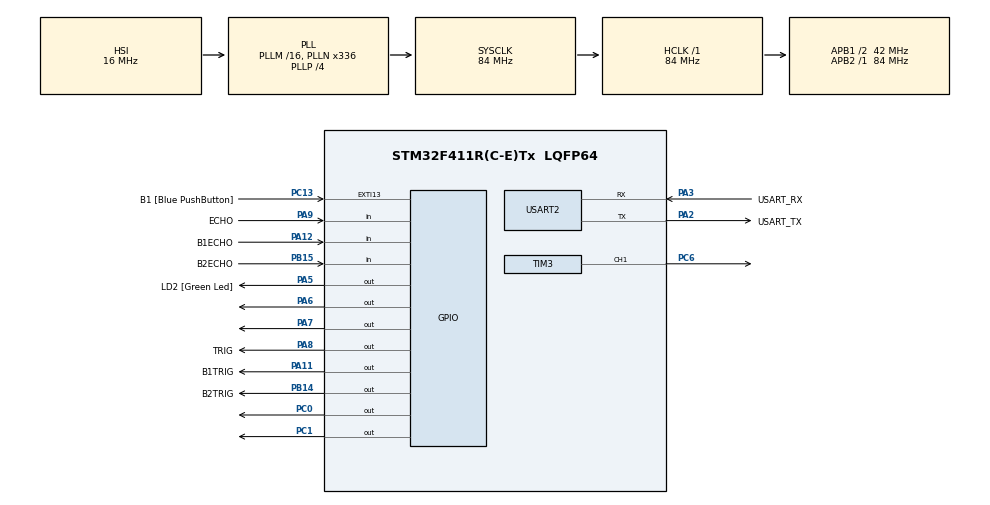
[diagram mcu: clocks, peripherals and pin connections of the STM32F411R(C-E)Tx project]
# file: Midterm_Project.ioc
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Mcu.Family=STM32F4
Mcu.Name=STM32F411R(C-E)Tx
Mcu.Package=LQFP64
NVIC.EXTI15_10_IRQn=true\:0\:0\:false\:false\:true\:true\:true
NVIC.PriorityGroup=NVIC_PRIORITYGROUP_0
NVIC.TIM3_IRQn=true\:0\:0\:false\:false\:true\:true\:true
PA11.GPIO_Label=B1TRIG
PA11.Signal=GPIO_Output
PA12.GPIO_Label=B1ECHO
PA12.Signal=GPIO_Input
PA13.GPIO_Label=TMS
PA13.Mode=Serial_Wire
PA13.Signal=SYS_JTMS-SWDIO
PA14.GPIO_Label=TCK
PA14.Mode=Serial_Wire
PA14.Signal=SYS_JTCK-SWCLK
PA2.GPIO_Label=USART_TX
PA2.Mode=Asynchronous
PA2.Signal=USART2_TX
PA3.GPIO_Label=USART_RX
PA3.Mode=Asynchronous
PA3.Signal=USART2_RX
PA5.GPIO_Label=LD2 [Green Led]
PA5.Signal=GPIO_Output
PA6.Signal=GPIO_Output
PA7.Signal=GPIO_Output
PA8.GPIO_Label=TRIG
PA8.Signal=GPIO_Output
PA9.GPIO_Label=ECHO
PA9.Signal=GPIO_Input
PB14.GPIO_Label=B2TRIG
PB14.Signal=GPIO_Output
PB15.GPIO_Label=B2ECHO
PB15.Signal=GPIO_Input
PB3.GPIO_Label=SWO
PB3.Signal=SYS_JTDO-SWO
PC0.Signal=GPIO_Output
PC1.Signal=GPIO_Output
PC13-ANTI_TAMP.GPIO_Label=B1 [Blue PushButton]
PC13-ANTI_TAMP.GPIO_ModeDefaultEXTI=GPIO_MODE_IT_FALLING
PC13-ANTI_TAMP.Signal=GPXTI13
PC14-OSC32_IN.Mode=LSE-External-Oscillator
PC14-OSC32_IN.Signal=RCC_OSC32_IN
PC15-OSC32_OUT.Mode=LSE-External-Oscillator
PC15-OSC32_OUT.Signal=RCC_OSC32_OUT
PC6.Signal=S_TIM3_CH1
PH0\ -\ OSC_IN.Mode=HSE-External-Clock-Source
PH0\ -\ OSC_IN.Signal=RCC_OSC_IN
PH1\ -\ OSC_OUT.Mode=HSE-External-Clock-Source
PH1\ -\ OSC_OUT.Signal=RCC_OSC_OUT
ProjectManager.HeapSize=0x200
ProjectManager.StackSize=0x400
ProjectManager.TargetToolchain=STM32CubeIDE
RCC.48MHZClocksFreq_Value=84000000
RCC.AHBFreq_Value=84000000
RCC.APB1CLKDivider=RCC_HCLK_DIV2
RCC.APB1Freq_Value=42000000
RCC.APB1TimFreq_Value=84000000
RCC.APB2Freq_Value=84000000
RCC.APB2TimFreq_Value=84000000
RCC.CortexFreq_Value=84000000
RCC.FLatency-AdvancedSettings=FLASH_LATENCY_2
RCC.HCLKFreq_Value=84000000
RCC.HSE_VALUE=8000000
RCC.HSI_VALUE=16000000
RCC.PLLN=336
RCC.PLLP=RCC_PLLP_DIV4
RCC.SYSCLKFreq_VALUE=84000000
RCC.SYSCLKSource=RCC_SYSCLKSOURCE_PLLCLK
RCC.VCOOutputFreq_Value=336000000
SH.S_TIM3_CH1.0=TIM3_CH1,PWM Generation1 CH1
TIM3.Channel-PWM\ Generation1\ CH1=TIM_CHANNEL_1
TIM3.Period=8191
TIM4.Period=65535
TIM4.Prescaler=83
USART2.VirtualMode=VM_ASYNC
VP_TIM3_VS_ClockSourceINT.Mode=Internal
VP_TIM4_VS_ClockSourceINT.Mode=Internal
board=NUCLEO-F411RE

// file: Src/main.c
/* USER CODE BEGIN Header */
/**
  ******************************************************************************
  * @file           : main.c
  * @brief          : Main program body
  ******************************************************************************
  * @attention
  *
  * <h2><center>&copy; Copyright (c) 2019 STMicroelectronics.
  * All rights reserved.</center></h2>
  *
  * This software component is licensed by ST under BSD 3-Clause license,
  * the "License"; You may not use this file except in compliance with the
  * License. You may obtain a copy of the License at:
  *                        opensource.org/licenses/BSD-3-Clause
  *
  ******************************************************************************
  */
/* USER CODE END Header */

#include "main.h"

/* USER CODE BEGIN Includes */
#include <string.h>
#include <stdio.h>
/* USER CODE END Includes */

/* USER CODE BEGIN PTD */
#define usTIM TIM4
/* USER CODE END PTD */

/* USER CODE BEGIN PD */
float UltrasonicRange();
float LeftBackUltraRange();
float RightBackUltraRange();
float BCM();
void Turn();

/* USER CODE END PD */

TIM_HandleTypeDef htim3;
TIM_HandleTypeDef htim4;

UART_HandleTypeDef huart2;

void SystemClock_Config(void);
static void MX_GPIO_Init(void);
static void MX_USART2_UART_Init(void);
static void MX_TIM4_Init(void);
static void MX_TIM3_Init(void);
/* USER CODE BEGIN PFP */
void usDelay(uint32_t usec);
/* USER CODE END PFP */

/* USER CODE BEGIN 0 */
const float speedOfSound = 0.0343/2;
float distance;
char uartBuf[100];
int numtick;
float range;
float left;
float right;

int i ;
char ch = 'A';

void MotorBegin(){
	TIM3->CCR1 = TIM4->ARR  * 100 / 100;
			HAL_GPIO_WritePin(GPIOA, GPIO_PIN_7, GPIO_PIN_SET);
			HAL_GPIO_WritePin(GPIOA, GPIO_PIN_6, GPIO_PIN_RESET);//set Motor 1 Forward
			HAL_GPIO_WritePin(GPIOC, GPIO_PIN_0, GPIO_PIN_SET);
			HAL_GPIO_WritePin(GPIOC, GPIO_PIN_1, GPIO_PIN_RESET);//Set Motor 2 Forward
	range = UltrasonicRange();// Measure side obstacle distance
	sprintf(uartBuf,"Distance(cm)= %.1f\r\n", range);
	HAL_UART_Transmit(&huart2, (uint8_t*)uartBuf, strlen(uartBuf), 1000);
	i = 0;
	while (i<3){
		HAL_Delay(200);
		range = UltrasonicRange();

		if (range > 40){
			i++;
		}
		else{
			i = 0 ;
		}// use while loop to identify the size of parking space
		sprintf(uartBuf,"Distance1(cm)= %.1f\r\n", range);
		HAL_UART_Transmit(&huart2, (uint8_t*)uartBuf, strlen(uartBuf), 1000);

	};
	HAL_GPIO_WritePin(GPIOA, GPIO_PIN_7, GPIO_PIN_RESET);
	HAL_GPIO_WritePin(GPIOC, GPIO_PIN_0, GPIO_PIN_RESET);// stop both motor

	Turn();// turn 90 degree for parallel park
	sprintf(uartBuf,"state2= %.1f\r\n", range);
	HAL_UART_Transmit(&huart2, (uint8_t*)uartBuf, strlen(uartBuf), 1000);
	range = 100;
	sprintf(uartBuf,"state2.1= %.1f\r\n", range);
	HAL_UART_Transmit(&huart2, (uint8_t*)uartBuf, strlen(uartBuf), 1000);
	while(range>7){
		left = LeftBackUltraRange();
		right = RightBackUltraRange();
		sprintf(uartBuf,"whileleft= %.1f\r\n", left);
		HAL_UART_Transmit(&huart2, (uint8_t*)uartBuf, strlen(uartBuf), 1000);
		sprintf(uartBuf,"whileright= %.1f\r\n", right);
		HAL_UART_Transmit(&huart2, (uint8_t*)uartBuf, strlen(uartBuf), 1000);
		HAL_GPIO_WritePin(GPIOA, GPIO_PIN_7, GPIO_PIN_RESET);
		HAL_GPIO_WritePin(GPIOA, GPIO_PIN_6, GPIO_PIN_SET);
		HAL_GPIO_WritePin(GPIOC, GPIO_PIN_0, GPIO_PIN_RESET);
		HAL_GPIO_WritePin(GPIOC, GPIO_PIN_1, GPIO_PIN_SET);
		if(left>right){
			range = right;
		}else{
			range = left;
		}
	};// use while loop to continue move backward until near the wall
	HAL_GPIO_WritePin(GPIOA, GPIO_PIN_6, GPIO_PIN_RESET);
	HAL_GPIO_WritePin(GPIOC, GPIO_PIN_1, GPIO_PIN_RESET);// stop motor

	sprintf(uartBuf,"state3= %.1f\r\n", range);
	HAL_UART_Transmit(&huart2, (uint8_t*)uartBuf, strlen(uartBuf), 1000);
	Park();// turn back 90 degree to parallel park
	HAL_UART_Transmit(&huart2,"park\r\n", strlen(uartBuf),1000);

}
float UltrasonicRange(){
	HAL_GPIO_WritePin(TRIG_GPIO_Port, TRIG_Pin, GPIO_PIN_RESET);
	usDelay(3);
	HAL_GPIO_WritePin(TRIG_GPIO_Port, TRIG_Pin, GPIO_PIN_SET);
	usDelay(10);
	HAL_GPIO_WritePin(TRIG_GPIO_Port, TRIG_Pin, GPIO_PIN_RESET);
	while (HAL_GPIO_ReadPin(ECHO_GPIO_Port, ECHO_Pin)== GPIO_PIN_RESET);
	numtick = 0;
	while(HAL_GPIO_ReadPin(ECHO_GPIO_Port, ECHO_Pin)== GPIO_PIN_SET)
	 {
	  numtick++;
	  usDelay(2);
	};
	distance = (numtick+0.0f)*2.8*speedOfSound ;

	/*sprintf(uartBuf,"Distance(cm)= %.1f\r\n", distance);

	HAL_UART_Transmit(&huart2, (uint8_t*)uartBuf, strlen(uartBuf), 1000);
	HAL_Delay(1000);*/
	return distance;
}

void Turn(){
	HAL_Delay(1000);
	HAL_GPIO_WritePin(GPIOA, GPIO_PIN_7, GPIO_PIN_SET);
	HAL_GPIO_WritePin(GPIOA, GPIO_PIN_6, GPIO_PIN_RESET);
	HAL_GPIO_WritePin(GPIOC, GPIO_PIN_0, GPIO_PIN_RESET);
	HAL_GPIO_WritePin(GPIOC, GPIO_PIN_1, GPIO_PIN_SET);
	HAL_Delay(250);
	HAL_GPIO_WritePin(GPIOA, GPIO_PIN_7, GPIO_PIN_RESET);
	HAL_GPIO_WritePin(GPIOC, GPIO_PIN_1, GPIO_PIN_RESET);
	HAL_Delay(2000);
}

float LeftBackUltraRange(){
	HAL_GPIO_WritePin(B1TRIG_GPIO_Port, B1TRIG_Pin, GPIO_PIN_RESET);
	usDelay(3);
	HAL_GPIO_WritePin(B1TRIG_GPIO_Port, B1TRIG_Pin, GPIO_PIN_SET);
	usDelay(10);
	HAL_GPIO_WritePin(B1TRIG_GPIO_Port, B1TRIG_Pin, GPIO_PIN_RESET);
	while (HAL_GPIO_ReadPin(B1ECHO_GPIO_Port, B1ECHO_Pin)== GPIO_PIN_RESET);
	numtick = 0;
	while(HAL_GPIO_ReadPin(B1ECHO_GPIO_Port, B1ECHO_Pin)== GPIO_PIN_SET)
		{
		 numtick++;
		 usDelay(2);
		};
	distance = (numtick+0.0f)*2.8*speedOfSound ;
	return distance;
}
float RightBackUltraRange(){
	HAL_GPIO_WritePin(B2TRIG_GPIO_Port, B2TRIG_Pin, GPIO_PIN_RESET);
	usDelay(3);
	HAL_GPIO_WritePin(B2TRIG_GPIO_Port, B2TRIG_Pin, GPIO_PIN_SET);
	usDelay(10);
	HAL_GPIO_WritePin(B2TRIG_GPIO_Port, B2TRIG_Pin, GPIO_PIN_RESET);
	while (HAL_GPIO_ReadPin(B2ECHO_GPIO_Port, B2ECHO_Pin)== GPIO_PIN_RESET);
	numtick = 0;
	while(HAL_GPIO_ReadPin(B2ECHO_GPIO_Port, B2ECHO_Pin)== GPIO_PIN_SET)
		{
		 numtick++;
		 usDelay(2);
		};
	distance = (numtick+0.0f)*2.8*speedOfSound ;
	return distance;
}
void Park(){
	HAL_Delay(1000);
	HAL_GPIO_WritePin(GPIOA, GPIO_PIN_7, GPIO_PIN_RESET);
	HAL_GPIO_WritePin(GPIOA, GPIO_PIN_6, GPIO_PIN_SET);
	HAL_GPIO_WritePin(GPIOC, GPIO_PIN_0, GPIO_PIN_SET);
	HAL_GPIO_WritePin(GPIOC, GPIO_PIN_1, GPIO_PIN_RESET);
	HAL_Delay(400);
	HAL_GPIO_WritePin(GPIOA, GPIO_PIN_6, GPIO_PIN_RESET);
	HAL_GPIO_WritePin(GPIOC, GPIO_PIN_0, GPIO_PIN_RESET);
	HAL_Delay(2000);

}

int state = 0;
void HAL_GPIO_EXTI_Callback(uint16_t pin) {
	//state = (state  + 1) % 3;

}

/* USER CODE END 0 */

int main(void)
{

  /* MCU Configuration--------------------------------------------------------*/

  /* Reset of all peripherals, Initializes the Flash interface and the Systick. */
  HAL_Init();

  /* Configure the system clock */
  SystemClock_Config();

  /* Initialize all configured peripherals */
  MX_GPIO_Init();
  MX_USART2_UART_Init();
  MX_TIM4_Init();
  MX_TIM3_Init();
  /* USER CODE BEGIN 2 */
  HAL_TIM_PWM_Start(&htim3, TIM_CHANNEL_1);
  HAL_TIM_Base_Start(&htim4);
  MotorBegin();
  /* USER CODE END 2 */

  /* Infinite loop */
  /* USER CODE BEGIN WHILE */
  while (1)
  {
	  HAL_GPIO_TogglePin(GPIOA, GPIO_PIN_5);
	  	  	  if (state == 0)
	  	  		  HAL_Delay(100);
	  	  	  if (state == 1)
	  	  		  HAL_Delay(500);
	  	  	  if (state == 2)
	  	  	  	HAL_Delay(2500);

    /* USER CODE END WHILE */

  }
}

void SystemClock_Config(void)
{
  RCC_OscInitTypeDef RCC_OscInitStruct = {0};
  RCC_ClkInitTypeDef RCC_ClkInitStruct = {0};

  /** Configure the main internal regulator output voltage
  */
  __HAL_RCC_PWR_CLK_ENABLE();
  __HAL_PWR_VOLTAGESCALING_CONFIG(PWR_REGULATOR_VOLTAGE_SCALE1);
  /** Initializes the CPU, AHB and APB busses clocks
  */
  RCC_OscInitStruct.OscillatorType = RCC_OSCILLATORTYPE_HSI;
  RCC_OscInitStruct.HSIState = RCC_HSI_ON;
  RCC_OscInitStruct.HSICalibrationValue = RCC_HSICALIBRATION_DEFAULT;
  RCC_OscInitStruct.PLL.PLLState = RCC_PLL_ON;
  RCC_OscInitStruct.PLL.PLLSource = RCC_PLLSOURCE_HSI;
  RCC_OscInitStruct.PLL.PLLM = 16;
  RCC_OscInitStruct.PLL.PLLN = 336;
  RCC_OscInitStruct.PLL.PLLP = RCC_PLLP_DIV4;
  RCC_OscInitStruct.PLL.PLLQ = 4;
  if (HAL_RCC_OscConfig(&RCC_OscInitStruct) != HAL_OK)
  {
    Error_Handler();
  }
  /** Initializes the CPU, AHB and APB busses clocks
  */
  RCC_ClkInitStruct.ClockType = RCC_CLOCKTYPE_HCLK|RCC_CLOCKTYPE_SYSCLK
                              |RCC_CLOCKTYPE_PCLK1|RCC_CLOCKTYPE_PCLK2;
  RCC_ClkInitStruct.SYSCLKSource = RCC_SYSCLKSOURCE_PLLCLK;
  RCC_ClkInitStruct.AHBCLKDivider = RCC_SYSCLK_DIV1;
  RCC_ClkInitStruct.APB1CLKDivider = RCC_HCLK_DIV2;
  RCC_ClkInitStruct.APB2CLKDivider = RCC_HCLK_DIV1;

  if (HAL_RCC_ClockConfig(&RCC_ClkInitStruct, FLASH_LATENCY_2) != HAL_OK)
  {
    Error_Handler();
  }
}

static void MX_TIM3_Init(void)
{

  TIM_ClockConfigTypeDef sClockSourceConfig = {0};
  TIM_MasterConfigTypeDef sMasterConfig = {0};
  TIM_OC_InitTypeDef sConfigOC = {0};

  htim3.Instance = TIM3;
  htim3.Init.Prescaler = 0;
  htim3.Init.CounterMode = TIM_COUNTERMODE_UP;
  htim3.Init.Period = 8191;
  htim3.Init.ClockDivision = TIM_CLOCKDIVISION_DIV1;
  htim3.Init.AutoReloadPreload = TIM_AUTORELOAD_PRELOAD_DISABLE;
  if (HAL_TIM_Base_Init(&htim3) != HAL_OK)
  {
    Error_Handler();
  }
  sClockSourceConfig.ClockSource = TIM_CLOCKSOURCE_INTERNAL;
  if (HAL_TIM_ConfigClockSource(&htim3, &sClockSourceConfig) != HAL_OK)
  {
    Error_Handler();
  }
  if (HAL_TIM_PWM_Init(&htim3) != HAL_OK)
  {
    Error_Handler();
  }
  sMasterConfig.MasterOutputTrigger = TIM_TRGO_RESET;
  sMasterConfig.MasterSlaveMode = TIM_MASTERSLAVEMODE_DISABLE;
  if (HAL_TIMEx_MasterConfigSynchronization(&htim3, &sMasterConfig) != HAL_OK)
  {
    Error_Handler();
  }
  sConfigOC.OCMode = TIM_OCMODE_PWM1;
  sConfigOC.Pulse = 0;
  sConfigOC.OCPolarity = TIM_OCPOLARITY_HIGH;
  sConfigOC.OCFastMode = TIM_OCFAST_DISABLE;
  if (HAL_TIM_PWM_ConfigChannel(&htim3, &sConfigOC, TIM_CHANNEL_1) != HAL_OK)
  {
    Error_Handler();
  }
  HAL_TIM_MspPostInit(&htim3);

}

static void MX_TIM4_Init(void)
{

  TIM_ClockConfigTypeDef sClockSourceConfig = {0};
  TIM_MasterConfigTypeDef sMasterConfig = {0};

  htim4.Instance = TIM4;
  htim4.Init.Prescaler = 83;
  htim4.Init.CounterMode = TIM_COUNTERMODE_UP;
  htim4.Init.Period = 65535;
  htim4.Init.ClockDivision = TIM_CLOCKDIVISION_DIV1;
  htim4.Init.AutoReloadPreload = TIM_AUTORELOAD_PRELOAD_DISABLE;
  if (HAL_TIM_Base_Init(&htim4) != HAL_OK)
  {
    Error_Handler();
  }
  sClockSourceConfig.ClockSource = TIM_CLOCKSOURCE_INTERNAL;
  if (HAL_TIM_ConfigClockSource(&htim4, &sClockSourceConfig) != HAL_OK)
  {
    Error_Handler();
  }
  sMasterConfig.MasterOutputTrigger = TIM_TRGO_RESET;
  sMasterConfig.MasterSlaveMode = TIM_MASTERSLAVEMODE_DISABLE;
  if (HAL_TIMEx_MasterConfigSynchronization(&htim4, &sMasterConfig) != HAL_OK)
  {
    Error_Handler();
  }

}

static void MX_USART2_UART_Init(void)
{

  huart2.Instance = USART2;
  huart2.Init.BaudRate = 115200;
  huart2.Init.WordLength = UART_WORDLENGTH_8B;
  huart2.Init.StopBits = UART_STOPBITS_1;
  huart2.Init.Parity = UART_PARITY_NONE;
  huart2.Init.Mode = UART_MODE_TX_RX;
  huart2.Init.HwFlowCtl = UART_HWCONTROL_NONE;
  huart2.Init.OverSampling = UART_OVERSAMPLING_16;
  if (HAL_UART_Init(&huart2) != HAL_OK)
  {
    Error_Handler();
  }

}

static void MX_GPIO_Init(void)
{
  GPIO_InitTypeDef GPIO_InitStruct = {0};

  /* GPIO Ports Clock Enable */
  __HAL_RCC_GPIOC_CLK_ENABLE();
  __HAL_RCC_GPIOH_CLK_ENABLE();
  __HAL_RCC_GPIOA_CLK_ENABLE();
  __HAL_RCC_GPIOB_CLK_ENABLE();

  /*Configure GPIO pin Output Level */
  HAL_GPIO_WritePin(GPIOC, GPIO_PIN_0|GPIO_PIN_1, GPIO_PIN_RESET);

  /*Configure GPIO pin Output Level */
  HAL_GPIO_WritePin(GPIOA, LD2_Pin|GPIO_PIN_6|GPIO_PIN_7|TRIG_Pin
                          |B1TRIG_Pin, GPIO_PIN_RESET);

  /*Configure GPIO pin Output Level */
  HAL_GPIO_WritePin(B2TRIG_GPIO_Port, B2TRIG_Pin, GPIO_PIN_RESET);

  /*Configure GPIO pin : B1_Pin */
  GPIO_InitStruct.Pin = B1_Pin;
  GPIO_InitStruct.Mode = GPIO_MODE_IT_FALLING;
  GPIO_InitStruct.Pull = GPIO_NOPULL;
  HAL_GPIO_Init(B1_GPIO_Port, &GPIO_InitStruct);

  /*Configure GPIO pins : PC0 PC1 */
  GPIO_InitStruct.Pin = GPIO_PIN_0|GPIO_PIN_1;
  GPIO_InitStruct.Mode = GPIO_MODE_OUTPUT_PP;
  GPIO_InitStruct.Pull = GPIO_NOPULL;
  GPIO_InitStruct.Speed = GPIO_SPEED_FREQ_LOW;
  HAL_GPIO_Init(GPIOC, &GPIO_InitStruct);

  /*Configure GPIO pins : LD2_Pin PA6 PA7 TRIG_Pin
                           B1TRIG_Pin */
  GPIO_InitStruct.Pin = LD2_Pin|GPIO_PIN_6|GPIO_PIN_7|TRIG_Pin
                          |B1TRIG_Pin;
  GPIO_InitStruct.Mode = GPIO_MODE_OUTPUT_PP;
  GPIO_InitStruct.Pull = GPIO_NOPULL;
  GPIO_InitStruct.Speed = GPIO_SPEED_FREQ_LOW;
  HAL_GPIO_Init(GPIOA, &GPIO_InitStruct);

  /*Configure GPIO pin : B2TRIG_Pin */
  GPIO_InitStruct.Pin = B2TRIG_Pin;
  GPIO_InitStruct.Mode = GPIO_MODE_OUTPUT_PP;
  GPIO_InitStruct.Pull = GPIO_NOPULL;
  GPIO_InitStruct.Speed = GPIO_SPEED_FREQ_LOW;
  HAL_GPIO_Init(B2TRIG_GPIO_Port, &GPIO_InitStruct);

  /*Configure GPIO pin : B2ECHO_Pin */
  GPIO_InitStruct.Pin = B2ECHO_Pin;
  GPIO_InitStruct.Mode = GPIO_MODE_INPUT;
  GPIO_InitStruct.Pull = GPIO_NOPULL;
  HAL_GPIO_Init(B2ECHO_GPIO_Port, &GPIO_InitStruct);

  /*Configure GPIO pins : ECHO_Pin B1ECHO_Pin */
  GPIO_InitStruct.Pin = ECHO_Pin|B1ECHO_Pin;
  GPIO_InitStruct.Mode = GPIO_MODE_INPUT;
  GPIO_InitStruct.Pull = GPIO_NOPULL;
  HAL_GPIO_Init(GPIOA, &GPIO_InitStruct);

  /* EXTI interrupt init*/
  HAL_NVIC_SetPriority(EXTI15_10_IRQn, 0, 0);
  HAL_NVIC_EnableIRQ(EXTI15_10_IRQn);

}

/* USER CODE BEGIN 4 */
void usDelay(uint32_t usec)
{
	if(usec < 2) usec =2;
	usTIM ->ARR = usec - 1;
	usTIM ->EGR = 1;
	usTIM ->SR &= ~1;
	usTIM ->CR1 |= 1 ;
	while((usTIM ->SR&0x0001)!= 1);
	usTIM -> SR &= ~(0x0001);
}
/* USER CODE END 4 */

void Error_Handler(void)
{
}

/************************ (C) COPYRIGHT STMicroelectronics *****END OF FILE****/
